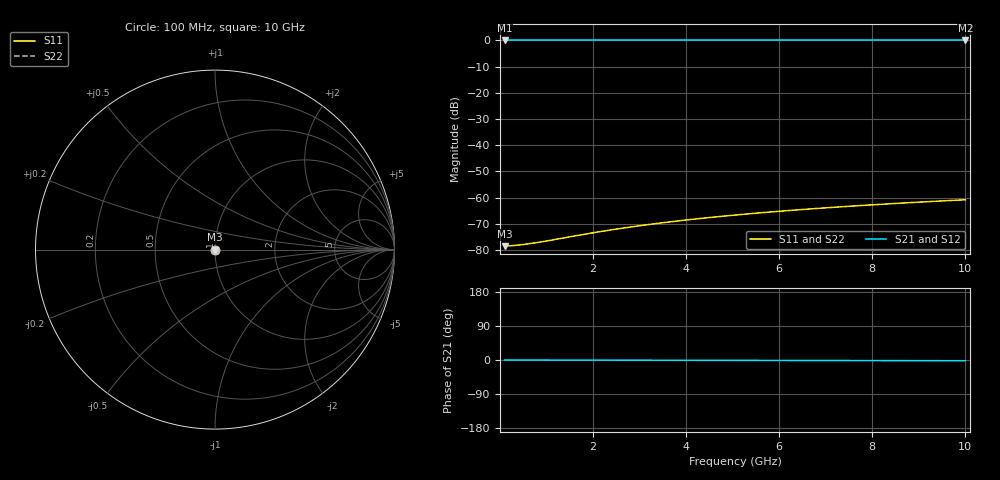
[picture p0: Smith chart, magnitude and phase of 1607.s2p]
# Hz S RI R 50.00
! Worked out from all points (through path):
!   100 points, 100 MHz to 10 GHz, reference 50 ohm
!   highest |S21| = 0.00 dB at 100 MHz (marker M1); lowest = 0.0 dB at 10 GHz (marker M2)
!   lowest |S11| = -78.6 dB at 100 MHz (marker M3), VSWR 1.00, Z = 50 - j0.000872 ohm
!   |S11| at or under -10 dB: start of sweep to end of sweep
!   |S22| runs from -78.6 to -60.9 dB; largest |S21 - S12| = 0
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1e8  0.000118 -8.71e-06  0.9999 -0.000336  0.9999 -0.000336  0.000118 -8.71e-06
3e8  0.000119 -2.61e-05  0.9999 -0.00101  0.9999 -0.00101  0.000119 -2.61e-05
4e8  0.000119 -3.49e-05  0.9999 -0.00134  0.9999 -0.00134  0.000119 -3.49e-05
5e8  0.000119 -4.36e-05  0.9999 -0.00168  0.9999 -0.00168  0.000119 -4.36e-05
7e8  0.000119 -6.11e-05  0.9999 -0.00235  0.9999 -0.00235  0.000119 -6.11e-05
1e9  0.00012 -8.73e-05  0.9999 -0.00336  0.9999 -0.00336  0.00012 -8.73e-05
1.8e9  0.000119 -0.000158  0.9999 -0.00605  0.9999 -0.00605  0.000119 -0.000158
2.2e9  0.000119 -0.000193  0.9998 -0.0074  0.9998 -0.0074  0.000119 -0.000193
2.6e9  0.000119 -0.000228  0.9998 -0.00874  0.9998 -0.00874  0.000119 -0.000228
3e9  0.000118 -0.000264  0.9998 -0.0101  0.9998 -0.0101  0.000118 -0.000264
3.4e9  0.000117 -0.0003  0.9998 -0.0114  0.9998 -0.0114  0.000117 -0.0003
3.8e9  0.000116 -0.000336  0.9998 -0.0128  0.9998 -0.0128  0.000116 -0.000336
4.2e9  0.000115 -0.000372  0.9998 -0.0141  0.9998 -0.0141  0.000115 -0.000372
4.6e9  0.000114 -0.000408  0.9997 -0.0155  0.9997 -0.0155  0.000114 -0.000408
5.1e9  0.000113 -0.000453  0.9997 -0.0172  0.9997 -0.0172  0.000113 -0.000453
5.5e9  0.000111 -0.00049  0.9997 -0.0185  0.9997 -0.0185  0.000111 -0.00049
5.9e9  0.00011 -0.000526  0.9997 -0.0199  0.9997 -0.0199  0.00011 -0.000526
6.7e9  0.000107 -0.0006  0.9996 -0.0226  0.9996 -0.0226  0.000107 -0.0006
7.5e9  0.000103 -0.000673  0.9995 -0.0253  0.9995 -0.0253  0.000103 -0.000673
8.4e9  9.85e-05 -0.000756  0.9994 -0.0283  0.9994 -0.0283  9.85e-05 -0.000756
9.2e9  9.41e-05 -0.000829  0.9994 -0.0311  0.9994 -0.0311  9.41e-05 -0.000829
1e10  8.93e-05 -0.000902  0.9993 -0.0338  0.9993 -0.0338  8.93e-05 -0.000902
